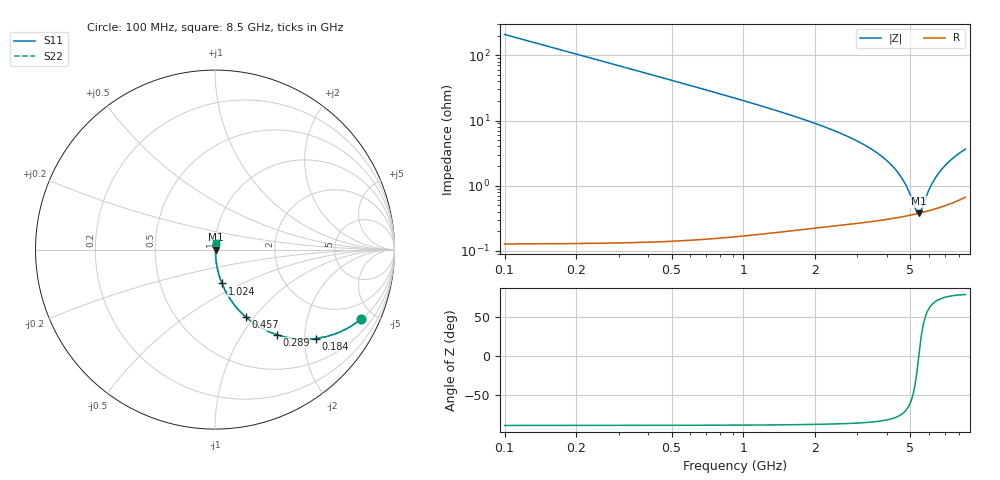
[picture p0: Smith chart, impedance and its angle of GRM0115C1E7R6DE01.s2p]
!Murata Part Number: GRM0115C1E7R6DE01
!These Parameters are Measured in Series Mode Connection
!Data Generated on Mar 30, 2021
!  o--ll--o
!Port1  Port2
!  o------o
!Operation Temp=25[degC], DC Bias Voltage=0[V]
!Freq. Start=100[MHz] Stop=9[GHz] 401[Steps]
# Hz S RI R 50
!Freq.(Hz) S11(Real) S11(Imag) S21(Real) S21(Imag) S12(Real) S12(Imag) S22(Real) S22(Imag)
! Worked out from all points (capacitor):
!   401 points, 100 MHz to 8.5 GHz, reference 50 ohm
!   read as one part in series: C = 7.6 pF near 142 MHz
!   lowest |Z| = 376 mohm at 5.413 GHz (marker M1)
!   series resonance near 5.423 GHz, so ESL is about 110 pH
!   S11 on the Smith chart (normalised r, x): 100 MHz: 1.00, -4.19; 184 MHz: 1.00, -2.27; 289 MHz: 1.00, -1.44; 457 MHz: 1.00, -0.91; 1.024 GHz: 1.00, -0.39; 8.5 GHz: 1.01, +0.07
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1e8  0.8141 -0.3888  0.1859 0.3888  0.1859 0.3888  0.8141 -0.3888
1.84e8  0.5636 -0.4954  0.4364 0.4954  0.4364 0.4954  0.5636 -0.4954
2.89e8  0.3432 -0.4739  0.6568 0.4739  0.6568 0.4739  0.3432 -0.4739
3.73e8  0.2383 -0.4248  0.7617 0.4248  0.7617 0.4248  0.2383 -0.4248
4.57e8  0.1721 -0.3759  0.8279 0.3759  0.8279 0.3759  0.1721 -0.3759
6.67e8  0.0882 -0.2812  0.9118 0.2812  0.9118 0.2812  0.0882 -0.2812
1.024e9  0.0388 -0.1888  0.9612 0.1888  0.9612 0.1888  0.0388 -0.1888
1.507e9  0.0179 -0.1252  0.9821 0.1252  0.9821 0.1252  0.0179 -0.1252
2.914e9  0.00515 -0.0505  0.9948 0.0505  0.9948 0.0505  0.00515 -0.0505
3.733e9  0.00377 -0.0292  0.9962 0.0292  0.9962 0.0292  0.00377 -0.0292
4.3e9  0.00348 -0.0179  0.9965 0.0179  0.9965 0.0179  0.00348 -0.0179
4.741e9  0.00348 -0.0103  0.9965 0.0103  0.9965 0.0103  0.00348 -0.0103
5.266e9  0.00366 -0.00224  0.9963 0.00224  0.9963 0.00224  0.00366 -0.00224
5.413e9  0.00374 -0.00014  0.9963 0.00014  0.9963 0.00014  0.00374 -0.00014
5.518e9  0.0038 0.00133  0.9962 -0.00133  0.9962 -0.00133  0.0038 0.00133
5.707e9  0.00394 0.0039  0.9961 -0.0039  0.9961 -0.0039  0.00394 0.0039
5.98e9  0.00416 0.00748  0.9958 -0.00748  0.9958 -0.00748  0.00416 0.00748
6.295e9  0.00446 0.0114  0.9955 -0.0114  0.9955 -0.0114  0.00446 0.0114
6.673e9  0.00488 0.0159  0.9951 -0.0159  0.9951 -0.0159  0.00488 0.0159
7.114e9  0.00546 0.021  0.9945 -0.021  0.9945 -0.021  0.00546 0.021
7.765e9  0.00647 0.0279  0.9935 -0.0279  0.9935 -0.0279  0.00647 0.0279
8.5e9  0.00784 0.0353  0.9922 -0.0353  0.9922 -0.0353  0.00784 0.0353
